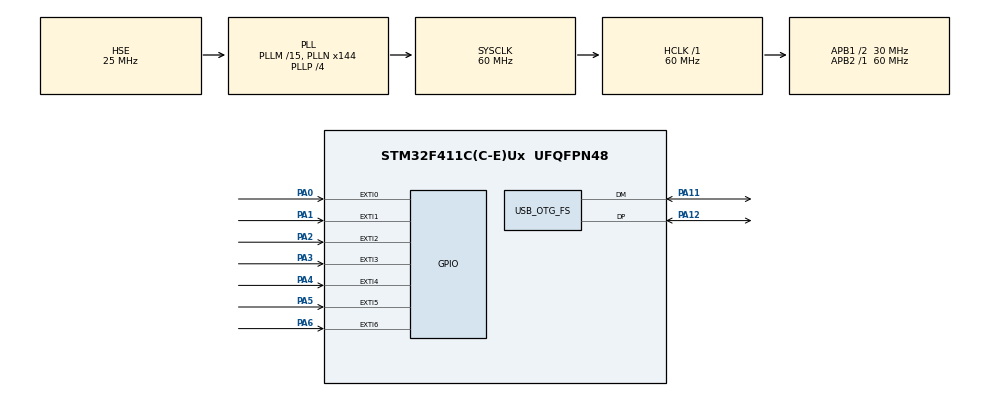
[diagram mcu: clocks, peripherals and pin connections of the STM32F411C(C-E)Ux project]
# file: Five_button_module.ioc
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Mcu.Family=STM32F4
Mcu.Name=STM32F411C(C-E)Ux
Mcu.Package=UFQFPN48
NVIC.EXTI0_IRQn=true\:0\:0\:false\:false\:true\:true\:true\:true
NVIC.EXTI1_IRQn=true\:0\:0\:false\:false\:true\:true\:true\:true
NVIC.EXTI2_IRQn=true\:0\:0\:false\:false\:true\:true\:true\:true
NVIC.EXTI3_IRQn=true\:0\:0\:false\:false\:true\:true\:true\:true
NVIC.EXTI4_IRQn=true\:0\:0\:false\:false\:true\:true\:true\:true
NVIC.EXTI9_5_IRQn=true\:0\:0\:false\:false\:true\:true\:true\:true
NVIC.OTG_FS_IRQn=true\:0\:0\:false\:false\:true\:false\:true\:true
NVIC.PriorityGroup=NVIC_PRIORITYGROUP_4
PA0-WKUP.GPIO_PuPd=GPIO_PULLUP
PA0-WKUP.Signal=GPXTI0
PA1.GPIO_PuPd=GPIO_PULLUP
PA1.Signal=GPXTI1
PA11.Mode=Device_Only
PA11.Signal=USB_OTG_FS_DM
PA12.Mode=Device_Only
PA12.Signal=USB_OTG_FS_DP
PA13.Mode=Serial_Wire
PA13.Signal=SYS_JTMS-SWDIO
PA14.Mode=Serial_Wire
PA14.Signal=SYS_JTCK-SWCLK
PA2.GPIO_PuPd=GPIO_PULLUP
PA2.Signal=GPXTI2
PA3.GPIO_PuPd=GPIO_PULLUP
PA3.Signal=GPXTI3
PA4.GPIO_PuPd=GPIO_PULLUP
PA4.Signal=GPXTI4
PA5.GPIO_PuPd=GPIO_PULLUP
PA5.Signal=GPXTI5
PA6.GPIO_PuPd=GPIO_PULLUP
PA6.Signal=GPXTI6
PH0\ -\ OSC_IN.Mode=HSE-External-Oscillator
PH0\ -\ OSC_IN.Signal=RCC_OSC_IN
PH1\ -\ OSC_OUT.Mode=HSE-External-Oscillator
PH1\ -\ OSC_OUT.Signal=RCC_OSC_OUT
ProjectManager.HeapSize=0x200
ProjectManager.StackSize=0x400
ProjectManager.TargetToolchain=STM32CubeIDE
RCC.48MHZClocksFreq_Value=48000000
RCC.AHBFreq_Value=60000000
RCC.APB1CLKDivider=RCC_HCLK_DIV2
RCC.APB1Freq_Value=30000000
RCC.APB1TimFreq_Value=60000000
RCC.APB2Freq_Value=60000000
RCC.APB2TimFreq_Value=60000000
RCC.CortexFreq_Value=60000000
RCC.HCLKFreq_Value=60000000
RCC.HSE_VALUE=25000000
RCC.HSI_VALUE=16000000
RCC.LSE_VALUE=32768
RCC.PLLM=15
RCC.PLLN=144
RCC.PLLP=RCC_PLLP_DIV4
RCC.PLLQ=5
RCC.SYSCLKFreq_VALUE=60000000
RCC.SYSCLKSource=RCC_SYSCLKSOURCE_PLLCLK
RCC.VCOOutputFreq_Value=240000000
USB_DEVICE.CLASS_NAME_FS=CDC
USB_DEVICE.VirtualMode=Cdc
USB_DEVICE.VirtualModeFS=Cdc_FS
USB_OTG_FS.VirtualMode=Device_Only
VP_USB_DEVICE_VS_USB_DEVICE_CDC_FS.Mode=CDC_FS
board=custom

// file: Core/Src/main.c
/* USER CODE BEGIN Header */
/**
  ******************************************************************************
  * @file           : main.c
  * @brief          : Main program body
  ******************************************************************************
  * @attention
  *
  * Copyright (c) 2024 STMicroelectronics.
  * All rights reserved.
  *
  * This software is licensed under terms that can be found in the LICENSE file
  * in the root directory of this software component.
  * If no LICENSE file comes with this software, it is provided AS-IS.
  *
  ******************************************************************************
  */
/* USER CODE END Header */
#include "main.h"
#include "usb_device.h"
#include "gpio.h"

/* USER CODE BEGIN Includes */
#include "usbd_cdc_if.h"
/* USER CODE END Includes */

void SystemClock_Config(void);

/* USER CODE BEGIN 0 */
int _write(int file, char *p, int len)
{
    CDC_Transmit_FS((uint8_t *)p, len);
    return len;
}

void HAL_GPIO_EXTI_Callback(uint16_t GPIO_Pin)
{
    switch(GPIO_Pin)
    {
        case GPIO_PIN_0:
            printf("UP\r\n");
            break;
        case GPIO_PIN_1:
            printf("DOWN\r\n");
            break;
        case GPIO_PIN_2:
            printf("LEFT\r\n");
            break;
        case GPIO_PIN_3:
            printf("RIGHT\r\n");
            break;
        case GPIO_PIN_4:
            printf("MID\r\n");
            break;
        case GPIO_PIN_5:
            printf("SET\r\n");
            break;
        case GPIO_PIN_6:
            printf("RESET\r\n");
            break;
    }
}
/* USER CODE END 0 */

int main(void)
{

  /* MCU Configuration--------------------------------------------------------*/

  /* Reset of all peripherals, Initializes the Flash interface and the Systick. */
  HAL_Init();

  /* Configure the system clock */
  SystemClock_Config();

  /* Initialize all configured peripherals */
  MX_GPIO_Init();
  MX_USB_DEVICE_Init();

  /* Infinite loop */
  while (1)
  {

  }
}

void SystemClock_Config(void)
{
  RCC_OscInitTypeDef RCC_OscInitStruct = {0};
  RCC_ClkInitTypeDef RCC_ClkInitStruct = {0};

  /** Configure the main internal regulator output voltage
  */
  __HAL_RCC_PWR_CLK_ENABLE();
  __HAL_PWR_VOLTAGESCALING_CONFIG(PWR_REGULATOR_VOLTAGE_SCALE1);

  /** Initializes the RCC Oscillators according to the specified parameters
  * in the RCC_OscInitTypeDef structure.
  */
  RCC_OscInitStruct.OscillatorType = RCC_OSCILLATORTYPE_HSE;
  RCC_OscInitStruct.HSEState = RCC_HSE_ON;
  RCC_OscInitStruct.PLL.PLLState = RCC_PLL_ON;
  RCC_OscInitStruct.PLL.PLLSource = RCC_PLLSOURCE_HSE;
  RCC_OscInitStruct.PLL.PLLM = 15;
  RCC_OscInitStruct.PLL.PLLN = 144;
  RCC_OscInitStruct.PLL.PLLP = RCC_PLLP_DIV4;
  RCC_OscInitStruct.PLL.PLLQ = 5;
  if (HAL_RCC_OscConfig(&RCC_OscInitStruct) != HAL_OK)
  {
    Error_Handler();
  }

  /** Initializes the CPU, AHB and APB buses clocks
  */
  RCC_ClkInitStruct.ClockType = RCC_CLOCKTYPE_HCLK|RCC_CLOCKTYPE_SYSCLK
                              |RCC_CLOCKTYPE_PCLK1|RCC_CLOCKTYPE_PCLK2;
  RCC_ClkInitStruct.SYSCLKSource = RCC_SYSCLKSOURCE_PLLCLK;
  RCC_ClkInitStruct.AHBCLKDivider = RCC_SYSCLK_DIV1;
  RCC_ClkInitStruct.APB1CLKDivider = RCC_HCLK_DIV2;
  RCC_ClkInitStruct.APB2CLKDivider = RCC_HCLK_DIV1;

  if (HAL_RCC_ClockConfig(&RCC_ClkInitStruct, FLASH_LATENCY_1) != HAL_OK)
  {
    Error_Handler();
  }
}

void Error_Handler(void)
{
  __disable_irq();
  while (1)
  {
  }
}
